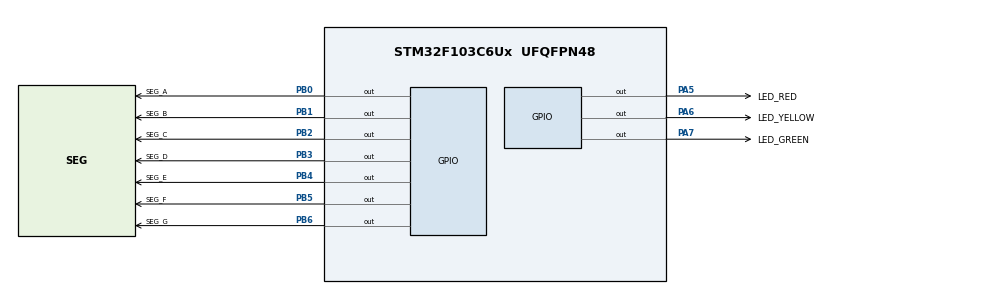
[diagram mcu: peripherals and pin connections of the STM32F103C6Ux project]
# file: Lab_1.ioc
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Mcu.Family=STM32F1
Mcu.Name=STM32F103C6Ux
Mcu.Package=UFQFPN48
NVIC.PriorityGroup=NVIC_PRIORITYGROUP_4
PA5.GPIO_Label=LED_RED
PA5.Signal=GPIO_Output
PA6.GPIO_Label=LED_YELLOW
PA6.Signal=GPIO_Output
PA7.GPIO_Label=LED_GREEN
PA7.Signal=GPIO_Output
PB0.GPIO_Label=SEG_A
PB0.Signal=GPIO_Output
PB1.GPIO_Label=SEG_B
PB1.Signal=GPIO_Output
PB2.GPIO_Label=SEG_C
PB2.Signal=GPIO_Output
PB3.GPIO_Label=SEG_D
PB3.Signal=GPIO_Output
PB4.GPIO_Label=SEG_E
PB4.Signal=GPIO_Output
PB5.GPIO_Label=SEG_F
PB5.Signal=GPIO_Output
PB6.GPIO_Label=SEG_G
PB6.Signal=GPIO_Output
ProjectManager.HeapSize=0x200
ProjectManager.StackSize=0x400
ProjectManager.TargetToolchain=STM32CubeIDE
RCC.APB1Freq_Value=8000000
RCC.APB2Freq_Value=8000000
VP_SYS_VS_ND.Mode=No_Debug
board=custom

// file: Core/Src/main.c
/* USER CODE BEGIN Header */
/**
  ******************************************************************************
  * @file           : main.c
  * @brief          : Main program body
  ******************************************************************************
  * @attention
  *
  * <h2><center>&copy; Copyright (c) 2025 STMicroelectronics.
  * All rights reserved.</center></h2>
  *
  * This software component is licensed by ST under BSD 3-Clause license,
  * the "License"; You may not use this file except in compliance with the
  * License. You may obtain a copy of the License at:
  *                        opensource.org/licenses/BSD-3-Clause
  *
  ******************************************************************************
  */
/* USER CODE END Header */
#include "main.h"

void SystemClock_Config(void);
static void MX_GPIO_Init(void);

int main(void)
{

  /* MCU Configuration--------------------------------------------------------*/

  /* Reset of all peripherals, Initializes the Flash interface and the Systick. */
  HAL_Init();

  /* Configure the system clock */
  SystemClock_Config();

  /* Initialize all configured peripherals */
  MX_GPIO_Init();
  /* USER CODE BEGIN 2 */
  void display7SEG(int num) {
    switch(num) {
      case 0:
        HAL_GPIO_WritePin(GPIOB, GPIO_PIN_0, GPIO_PIN_RESET); // a
        HAL_GPIO_WritePin(GPIOB, GPIO_PIN_1, GPIO_PIN_RESET); // b
        HAL_GPIO_WritePin(GPIOB, GPIO_PIN_2, GPIO_PIN_RESET); // c
        HAL_GPIO_WritePin(GPIOB, GPIO_PIN_3, GPIO_PIN_RESET); // d
        HAL_GPIO_WritePin(GPIOB, GPIO_PIN_4, GPIO_PIN_RESET); // e
        HAL_GPIO_WritePin(GPIOB, GPIO_PIN_5, GPIO_PIN_RESET); // f
        HAL_GPIO_WritePin(GPIOB, GPIO_PIN_6, GPIO_PIN_SET);   // g
        break;
      case 1:
        HAL_GPIO_WritePin(GPIOB, GPIO_PIN_0, GPIO_PIN_SET);   // a
        HAL_GPIO_WritePin(GPIOB, GPIO_PIN_1, GPIO_PIN_RESET); // b
        HAL_GPIO_WritePin(GPIOB, GPIO_PIN_2, GPIO_PIN_RESET); // c
        HAL_GPIO_WritePin(GPIOB, GPIO_PIN_3, GPIO_PIN_SET);   // d
        HAL_GPIO_WritePin(GPIOB, GPIO_PIN_4, GPIO_PIN_SET);   // e
        HAL_GPIO_WritePin(GPIOB, GPIO_PIN_5, GPIO_PIN_SET);   // f
        HAL_GPIO_WritePin(GPIOB, GPIO_PIN_6, GPIO_PIN_SET);   // g
        break;
      case 2:
        HAL_GPIO_WritePin(GPIOB, GPIO_PIN_0, GPIO_PIN_RESET); // a
        HAL_GPIO_WritePin(GPIOB, GPIO_PIN_1, GPIO_PIN_RESET); // b
        HAL_GPIO_WritePin(GPIOB, GPIO_PIN_2, GPIO_PIN_SET);   // c
        HAL_GPIO_WritePin(GPIOB, GPIO_PIN_3, GPIO_PIN_RESET); // d
        HAL_GPIO_WritePin(GPIOB, GPIO_PIN_4, GPIO_PIN_RESET); // e
        HAL_GPIO_WritePin(GPIOB, GPIO_PIN_5, GPIO_PIN_SET);   // f
        HAL_GPIO_WritePin(GPIOB, GPIO_PIN_6, GPIO_PIN_RESET); // g
        break;
      case 3:
        HAL_GPIO_WritePin(GPIOB, GPIO_PIN_0, GPIO_PIN_RESET); // a
        HAL_GPIO_WritePin(GPIOB, GPIO_PIN_1, GPIO_PIN_RESET); // b
        HAL_GPIO_WritePin(GPIOB, GPIO_PIN_2, GPIO_PIN_RESET); // c
        HAL_GPIO_WritePin(GPIOB, GPIO_PIN_3, GPIO_PIN_RESET); // d
        HAL_GPIO_WritePin(GPIOB, GPIO_PIN_4, GPIO_PIN_SET);   // e
        HAL_GPIO_WritePin(GPIOB, GPIO_PIN_5, GPIO_PIN_SET);   // f
        HAL_GPIO_WritePin(GPIOB, GPIO_PIN_6, GPIO_PIN_RESET); // g
        break;
      case 4:
        HAL_GPIO_WritePin(GPIOB, GPIO_PIN_0, GPIO_PIN_SET);   // a
        HAL_GPIO_WritePin(GPIOB, GPIO_PIN_1, GPIO_PIN_RESET); // b
        HAL_GPIO_WritePin(GPIOB, GPIO_PIN_2, GPIO_PIN_RESET); // c
        HAL_GPIO_WritePin(GPIOB, GPIO_PIN_3, GPIO_PIN_SET);   // d
        HAL_GPIO_WritePin(GPIOB, GPIO_PIN_4, GPIO_PIN_SET);   // e
        HAL_GPIO_WritePin(GPIOB, GPIO_PIN_5, GPIO_PIN_RESET); // f
        HAL_GPIO_WritePin(GPIOB, GPIO_PIN_6, GPIO_PIN_RESET); // g
        break;
      case 5:
        HAL_GPIO_WritePin(GPIOB, GPIO_PIN_0, GPIO_PIN_RESET); // a
        HAL_GPIO_WritePin(GPIOB, GPIO_PIN_1, GPIO_PIN_SET);   // b
        HAL_GPIO_WritePin(GPIOB, GPIO_PIN_2, GPIO_PIN_RESET); // c
        HAL_GPIO_WritePin(GPIOB, GPIO_PIN_3, GPIO_PIN_RESET); // d
        HAL_GPIO_WritePin(GPIOB, GPIO_PIN_4, GPIO_PIN_SET);   // e
        HAL_GPIO_WritePin(GPIOB, GPIO_PIN_5, GPIO_PIN_RESET); // f
        HAL_GPIO_WritePin(GPIOB, GPIO_PIN_6, GPIO_PIN_RESET); // g
        break;
      case 6:
        HAL_GPIO_WritePin(GPIOB, GPIO_PIN_0, GPIO_PIN_RESET); // a
        HAL_GPIO_WritePin(GPIOB, GPIO_PIN_1, GPIO_PIN_SET);   // b
        HAL_GPIO_WritePin(GPIOB, GPIO_PIN_2, GPIO_PIN_RESET); // c
        HAL_GPIO_WritePin(GPIOB, GPIO_PIN_3, GPIO_PIN_RESET); // d
        HAL_GPIO_WritePin(GPIOB, GPIO_PIN_4, GPIO_PIN_RESET); // e
        HAL_GPIO_WritePin(GPIOB, GPIO_PIN_5, GPIO_PIN_RESET); // f
        HAL_GPIO_WritePin(GPIOB, GPIO_PIN_6, GPIO_PIN_RESET); // g
        break;
      case 7:
        HAL_GPIO_WritePin(GPIOB, GPIO_PIN_0, GPIO_PIN_RESET); // a
        HAL_GPIO_WritePin(GPIOB, GPIO_PIN_1, GPIO_PIN_RESET); // b
        HAL_GPIO_WritePin(GPIOB, GPIO_PIN_2, GPIO_PIN_RESET); // c
        HAL_GPIO_WritePin(GPIOB, GPIO_PIN_3, GPIO_PIN_SET);   // d
        HAL_GPIO_WritePin(GPIOB, GPIO_PIN_4, GPIO_PIN_SET);   // e
        HAL_GPIO_WritePin(GPIOB, GPIO_PIN_5, GPIO_PIN_SET);   // f
        HAL_GPIO_WritePin(GPIOB, GPIO_PIN_6, GPIO_PIN_SET);   // g
        break;
      case 8:
        HAL_GPIO_WritePin(GPIOB, GPIO_PIN_0, GPIO_PIN_RESET); // a
        HAL_GPIO_WritePin(GPIOB, GPIO_PIN_1, GPIO_PIN_RESET); // b
        HAL_GPIO_WritePin(GPIOB, GPIO_PIN_2, GPIO_PIN_RESET); // c
        HAL_GPIO_WritePin(GPIOB, GPIO_PIN_3, GPIO_PIN_RESET); // d
        HAL_GPIO_WritePin(GPIOB, GPIO_PIN_4, GPIO_PIN_RESET); // e
        HAL_GPIO_WritePin(GPIOB, GPIO_PIN_5, GPIO_PIN_RESET); // f
        HAL_GPIO_WritePin(GPIOB, GPIO_PIN_6, GPIO_PIN_RESET); // g
        break;
      case 9:
        HAL_GPIO_WritePin(GPIOB, GPIO_PIN_0, GPIO_PIN_RESET); // a
        HAL_GPIO_WritePin(GPIOB, GPIO_PIN_1, GPIO_PIN_RESET); // b
        HAL_GPIO_WritePin(GPIOB, GPIO_PIN_2, GPIO_PIN_RESET); // c
        HAL_GPIO_WritePin(GPIOB, GPIO_PIN_3, GPIO_PIN_RESET); // d
        HAL_GPIO_WritePin(GPIOB, GPIO_PIN_4, GPIO_PIN_SET);   // e
        HAL_GPIO_WritePin(GPIOB, GPIO_PIN_5, GPIO_PIN_RESET); // f
        HAL_GPIO_WritePin(GPIOB, GPIO_PIN_6, GPIO_PIN_RESET); // g
        break;
      default:
        HAL_GPIO_WritePin(GPIOB, GPIO_PIN_0, GPIO_PIN_SET);
        HAL_GPIO_WritePin(GPIOB, GPIO_PIN_1, GPIO_PIN_SET);
        HAL_GPIO_WritePin(GPIOB, GPIO_PIN_2, GPIO_PIN_SET);
        HAL_GPIO_WritePin(GPIOB, GPIO_PIN_3, GPIO_PIN_SET);
        HAL_GPIO_WritePin(GPIOB, GPIO_PIN_4, GPIO_PIN_SET);
        HAL_GPIO_WritePin(GPIOB, GPIO_PIN_5, GPIO_PIN_SET);
        HAL_GPIO_WritePin(GPIOB, GPIO_PIN_6, GPIO_PIN_SET);
        break;
    }
  }
  int counter = 0;
  /* USER CODE END 2 */

  /* Infinite loop */
  /* USER CODE BEGIN WHILE */
  while (1)
  {
	  if( counter >= 10) counter = 0;
	  display7SEG ( counter ++) ;
	  HAL_Delay (1000) ;
    /* USER CODE END WHILE */

  }
}

void SystemClock_Config(void)
{
  RCC_OscInitTypeDef RCC_OscInitStruct = {0};
  RCC_ClkInitTypeDef RCC_ClkInitStruct = {0};

  /** Initializes the RCC Oscillators according to the specified parameters
  * in the RCC_OscInitTypeDef structure.
  */
  RCC_OscInitStruct.OscillatorType = RCC_OSCILLATORTYPE_HSI;
  RCC_OscInitStruct.HSIState = RCC_HSI_ON;
  RCC_OscInitStruct.HSICalibrationValue = RCC_HSICALIBRATION_DEFAULT;
  RCC_OscInitStruct.PLL.PLLState = RCC_PLL_NONE;
  if (HAL_RCC_OscConfig(&RCC_OscInitStruct) != HAL_OK)
  {
    Error_Handler();
  }
  /** Initializes the CPU, AHB and APB buses clocks
  */
  RCC_ClkInitStruct.ClockType = RCC_CLOCKTYPE_HCLK|RCC_CLOCKTYPE_SYSCLK
                              |RCC_CLOCKTYPE_PCLK1|RCC_CLOCKTYPE_PCLK2;
  RCC_ClkInitStruct.SYSCLKSource = RCC_SYSCLKSOURCE_HSI;
  RCC_ClkInitStruct.AHBCLKDivider = RCC_SYSCLK_DIV1;
  RCC_ClkInitStruct.APB1CLKDivider = RCC_HCLK_DIV1;
  RCC_ClkInitStruct.APB2CLKDivider = RCC_HCLK_DIV1;

  if (HAL_RCC_ClockConfig(&RCC_ClkInitStruct, FLASH_LATENCY_0) != HAL_OK)
  {
    Error_Handler();
  }
}

static void MX_GPIO_Init(void)
{
  GPIO_InitTypeDef GPIO_InitStruct = {0};

  /* GPIO Ports Clock Enable */
  __HAL_RCC_GPIOA_CLK_ENABLE();
  __HAL_RCC_GPIOB_CLK_ENABLE();

  /*Configure GPIO pin Output Level */
  HAL_GPIO_WritePin(GPIOA, LED_RED_Pin|LED_YELLOW_Pin|LED_GREEN_Pin, GPIO_PIN_RESET);

  /*Configure GPIO pin Output Level */
  HAL_GPIO_WritePin(GPIOB, SEG_A_Pin|SEG_B_Pin|SEG_C_Pin|SEG_D_Pin
                          |SEG_E_Pin|SEG_F_Pin|SEG_G_Pin, GPIO_PIN_RESET);

  /*Configure GPIO pins : LED_RED_Pin LED_YELLOW_Pin LED_GREEN_Pin */
  GPIO_InitStruct.Pin = LED_RED_Pin|LED_YELLOW_Pin|LED_GREEN_Pin;
  GPIO_InitStruct.Mode = GPIO_MODE_OUTPUT_PP;
  GPIO_InitStruct.Pull = GPIO_NOPULL;
  GPIO_InitStruct.Speed = GPIO_SPEED_FREQ_LOW;
  HAL_GPIO_Init(GPIOA, &GPIO_InitStruct);

  /*Configure GPIO pins : SEG_A_Pin SEG_B_Pin SEG_C_Pin SEG_D_Pin
                           SEG_E_Pin SEG_F_Pin SEG_G_Pin */
  GPIO_InitStruct.Pin = SEG_A_Pin|SEG_B_Pin|SEG_C_Pin|SEG_D_Pin
                          |SEG_E_Pin|SEG_F_Pin|SEG_G_Pin;
  GPIO_InitStruct.Mode = GPIO_MODE_OUTPUT_PP;
  GPIO_InitStruct.Pull = GPIO_NOPULL;
  GPIO_InitStruct.Speed = GPIO_SPEED_FREQ_LOW;
  HAL_GPIO_Init(GPIOB, &GPIO_InitStruct);

}

void Error_Handler(void)
{
  __disable_irq();
  while (1)
  {
  }
}

/************************ (C) COPYRIGHT STMicroelectronics *****END OF FILE****/
